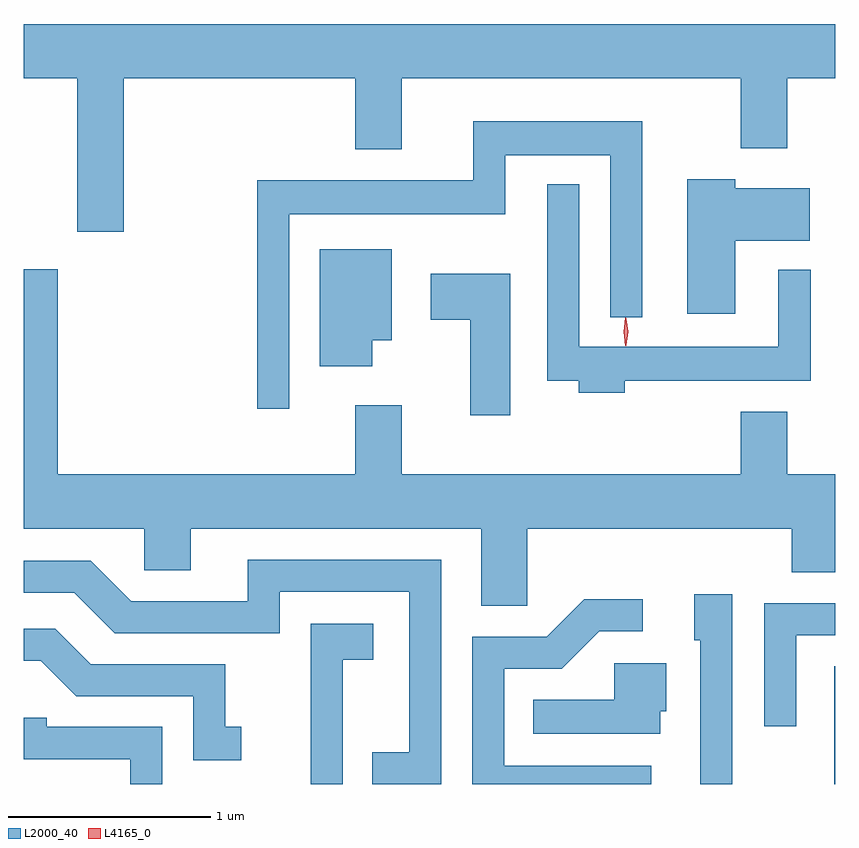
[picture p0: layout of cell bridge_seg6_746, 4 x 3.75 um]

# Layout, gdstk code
import gdstk
lib = gdstk.Library(unit=1e-6, precision=1e-09)
def R(c, l, rs):  # rectangles x0, y0, x1, y1
    for r in rs: c.add(gdstk.rectangle(r[:2], r[2:], *l))
def P(c, l, *ps):  # polygons
    for p in ps: c.add(gdstk.Polygon(p, *l))
L2000_40 = (2000, 40)
L4165_0 = (4165, 0)

bridge_seg6_746 = lib.new_cell('bridge_seg6_746')
R(bridge_seg6_746, L2000_40, [(420.221,1590.958,420.226,1591.539)])
P(bridge_seg6_746, L2000_40, [(416.719,1594.436),(417.861,1594.436),(417.861,1594.086),(418.089,1594.086),(418.089,1594.436),(419.761,1594.436),(419.761,1594.091),(419.989,1594.091),(419.989,1594.436),(420.226,1594.436),(420.226,1594.704),(416.226,1594.704),(416.226,1594.436),(416.491,1594.436),(416.491,1593.681),(416.719,1593.681)],
  [(417.534,1593.766),(418.599,1593.766),(418.599,1594.056),(419.116,1594.056),(419.116,1593.258),(419.274,1593.258),(419.274,1594.224),(418.441,1594.224),(418.441,1593.934),(417.376,1593.934),(417.376,1592.808),(417.534,1592.808)],
  [(419.734,1593.636),(420.099,1593.636),(420.099,1593.894),(419.734,1593.894),(419.734,1593.939),(419.496,1593.939),(419.496,1593.276),(419.734,1593.276)],
  [(419.189,1592.946),(420.104,1592.946),(420.104,1593.493),(419.946,1593.493),(419.946,1593.114),(418.964,1593.114),(418.964,1593.913),(418.806,1593.913),(418.806,1592.946),(418.961,1592.946),(418.961,1592.886),(419.189,1592.886)],
  [(417.944,1593.146),(418.039,1593.146),(418.039,1593.594),(417.686,1593.594),(417.686,1593.016),(417.944,1593.016)],
  [(418.709,1592.216),(420.011,1592.216),(420.011,1592.001),(420.226,1592.001),(420.226,1592.484),(419.989,1592.484),(419.989,1592.794),(419.761,1592.794),(419.761,1592.484),(418.089,1592.484),(418.089,1592.824),(417.861,1592.824),(417.861,1592.484),(416.394,1592.484),(416.394,1593.494),(416.226,1593.494),(416.226,1592.216),(416.821,1592.216),(416.821,1592.011),(417.049,1592.011),(417.049,1592.216),(418.481,1592.216),(418.481,1591.836),(418.709,1591.836)],
  [(418.624,1593.474),(418.231,1593.474),(418.231,1593.246),(418.426,1593.246),(418.426,1592.776),(418.624,1592.776)],
  [(418.284,1592.064),(417.331,1592.064),(417.331,1591.859),(416.757,1591.859),(416.557,1592.059),(416.226,1592.059),(416.226,1591.901),(416.474,1591.901),(416.674,1591.701),(417.489,1591.701),(417.489,1591.906),(418.126,1591.906),(418.126,1591.114),(417.943,1591.114),(417.943,1590.958),(418.284,1590.958)],
  [(419.719,1591.894),(419.531,1591.894),(419.531,1591.666),(419.561,1591.666),(419.561,1590.958),(419.719,1590.958)],
  [(419.318,1591.049),(418.594,1591.049),(418.594,1591.526),(418.877,1591.526),(419.062,1591.711),(419.278,1591.711),(419.278,1591.869),(418.989,1591.869),(418.804,1591.684),(418.436,1591.684),(418.436,1590.958),(419.318,1590.958)],
  [(420.034,1591.691),(420.226,1591.691),(420.226,1591.849),(419.876,1591.849),(419.876,1591.243),(420.034,1591.243)],
  [(417.799,1591.571),(417.949,1591.571),(417.949,1591.749),(417.641,1591.749),(417.641,1590.958),(417.799,1590.958)],
  [(417.298,1591.239),(417.219,1591.239),(417.219,1591.549),(416.557,1591.549),(416.382,1591.724),(416.226,1591.724),(416.226,1591.566),(416.309,1591.566),(416.484,1591.391),(417.061,1591.391),(417.061,1591.076),(417.298,1591.076)],
  [(419.364,1591.316),(419.394,1591.316),(419.394,1591.554),(419.136,1591.554),(419.136,1591.374),(418.738,1591.374),(418.738,1591.206),(419.364,1591.206)],
  [(416.909,1591.239),(416.339,1591.239),(416.339,1591.284),(416.226,1591.284),(416.226,1591.081),(416.751,1591.081),(416.751,1590.958),(416.909,1590.958)])
P(bridge_seg6_746, L4165_0, [(419.195,1593.119),(419.195,1593.12),(419.185,1593.186),(419.195,1593.252),(419.195,1593.253),(419.196,1593.252),(419.206,1593.186),(419.196,1593.12)],
  [(419.192,1593.117),(419.183,1593.187),(419.192,1593.256),(419.193,1593.256),(419.194,1593.256),(419.203,1593.187),(419.194,1593.117),(419.193,1593.117)])

lib.write_gds('bridge_seg6_746.gds')
